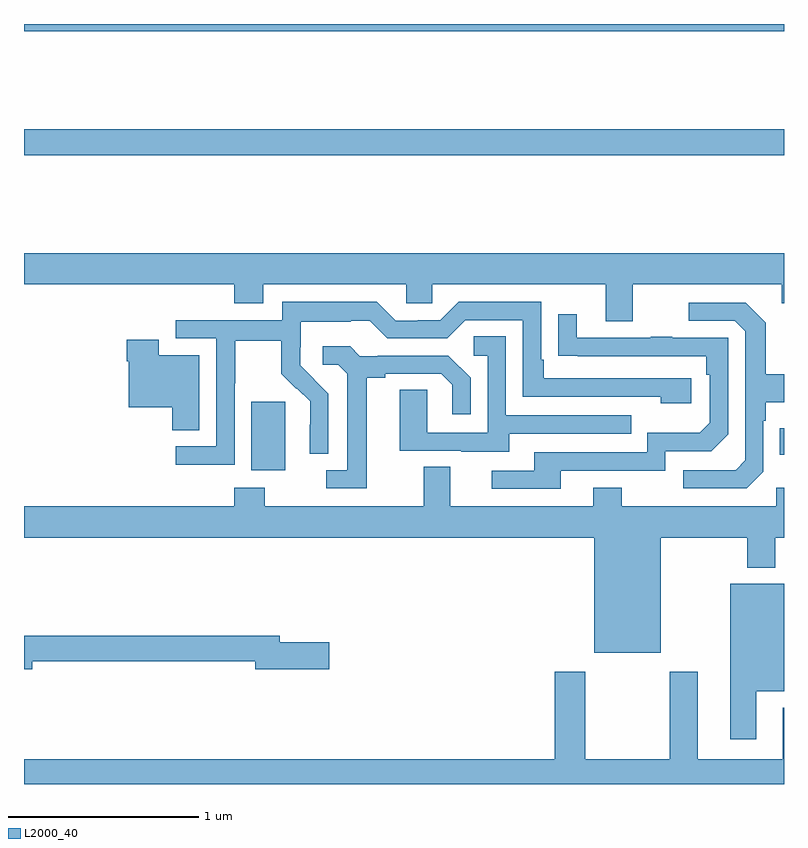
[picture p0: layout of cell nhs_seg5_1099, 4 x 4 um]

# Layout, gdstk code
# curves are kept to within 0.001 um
import gdstk
lib = gdstk.Library(unit=1e-6, precision=1e-09)
def R(c, l, rs):  # rectangles x0, y0, x1, y1
    for r in rs: c.add(gdstk.rectangle(r[:2], r[2:], *l))
def P(c, l, *ps):  # polygons
    for p in ps: c.add(gdstk.Polygon(p, *l))
L2000_40 = (2000, 40)

nhs_seg5_1099 = lib.new_cell('nhs_seg5_1099')
R(nhs_seg5_1099, L2000_40, [(180.197,854.45,180.376,854.811), (182.977,854.531,183,854.671), (179,856.108,183,856.244), (179,856.76,183,856.799)])
P(nhs_seg5_1099, L2000_40, [(182.203,855.428),(182.987,855.428),(182.987,855.329),(183,855.329),(183,855.592),(179,855.592),(179,855.428),(180.107,855.428),(180.107,855.329),(180.259,855.329),(180.259,855.428),(181.011,855.428),(181.011,855.33),(181.149,855.33),(181.149,855.428),(182.063,855.428),(182.063,855.234),(182.203,855.234)],
  [(180.108,854.908),(180.111,854.908),(180.111,855.132),(180.355,855.132),(180.355,854.957),(180.432,854.88),(180.435,854.883),(180.506,854.813),(180.506,854.69),(180.504,854.69),(180.504,854.536),(180.6,854.536),(180.6,854.854),(180.454,855.002),(180.454,855.099),(180.456,855.099),(180.456,855.233),(180.719,855.233),(180.719,855.237),(180.819,855.237),(180.912,855.144),(181.227,855.144),(181.323,855.24),(181.626,855.24),(181.626,854.838),(182.351,854.838),(182.351,854.804),(182.512,854.804),(182.512,854.934),(181.735,854.934),(181.735,855.031),(181.722,855.031),(181.722,855.336),(181.287,855.336),(181.191,855.24),(181.073,855.24),(181.073,855.237),(180.957,855.237),(180.857,855.337),(180.36,855.337),(180.36,855.24),(179.799,855.24),(179.799,855.144),(180.012,855.144),(180.012,854.577),(179.799,854.577),(179.799,854.479),(180.108,854.479)],
  [(182.892,854.442),(182.892,854.711),(182.905,854.711),(182.905,854.807),(183,854.807),(183,854.955),(182.905,854.955),(182.905,855.227),(182.799,855.333),(182.499,855.333),(182.499,855.237),(182.742,855.237),(182.796,855.183),(182.796,854.502),(182.745,854.451),(182.469,854.451),(182.469,854.355),(182.805,854.355)],
  [(181.825,854.448),(182.376,854.448),(182.376,854.55),(182.616,854.55),(182.706,854.64),(182.706,855.147),(182.411,855.147),(182.411,855.152),(182.299,855.152),(182.299,855.147),(181.909,855.147),(181.909,855.271),(181.813,855.271),(181.813,855.052),(182.59,855.051),(182.59,854.954),(182.61,854.954),(182.61,854.7),(182.557,854.647),(182.28,854.647),(182.28,854.544),(181.685,854.544),(181.685,854.448),(181.461,854.448),(181.461,854.352),(181.825,854.352)],
  [(181.555,854.643),(182.195,854.643),(182.195,854.739),(181.536,854.739),(181.536,855.155),(181.368,855.155),(181.368,855.054),(181.44,855.054),(181.44,854.649),(181.122,854.649),(181.122,854.873),(180.977,854.873),(180.977,854.553),(181.301,854.553),(181.301,854.549),(181.555,854.549)],
  [(179.923,855.055),(179.71,855.055),(179.71,855.136),(179.54,855.136),(179.54,855.023),(179.552,855.023),(179.552,854.783),(179.78,854.783),(179.78,854.662),(179.923,854.662)],
  [(180.805,854.936),(180.901,854.936),(180.901,854.958),(181.196,854.958),(181.253,854.901),(181.253,854.745),(181.35,854.745),(181.35,854.938),(181.234,855.054),(180.862,855.054),(180.862,855.051),(180.768,855.051),(180.716,855.103),(180.573,855.103),(180.573,855.006),(180.654,855.006),(180.701,854.959),(180.701,854.451),(180.591,854.451),(180.591,854.355),(180.805,854.355)],
  [(182.35,854.096),(182.806,854.096),(182.806,853.937),(182.953,853.937),(182.953,854.096),(183,854.096),(183,854.359),(182.958,854.359),(182.958,854.26),(182.145,854.26),(182.145,854.359),(181.997,854.359),(181.997,854.26),(181.243,854.26),(181.243,854.468),(181.103,854.468),(181.103,854.26),(180.267,854.26),(180.267,854.359),(180.107,854.359),(180.107,854.26),(179,854.26),(179,854.096),(182,854.096),(182,853.49),(182.35,853.49)],
  [(182.854,853.286),(183,853.286),(183,853.852),(182.717,853.852),(182.717,853.035),(182.854,853.035)],
  [(179.044,853.444),(180.218,853.444),(180.218,853.402),(180.607,853.402),(180.607,853.544),(180.346,853.544),(180.346,853.58),(179,853.58),(179,853.402),(179.044,853.402)],
  [(183,853.201),(182.993,853.201),(182.993,852.928),(182.545,852.928),(182.545,853.39),(182.398,853.39),(182.398,852.928),(181.953,852.928),(181.953,853.39),(181.793,853.39),(181.793,852.928),(179,852.928),(179,852.799),(183,852.799)])

lib.write_gds('nhs_seg5_1099.gds')
